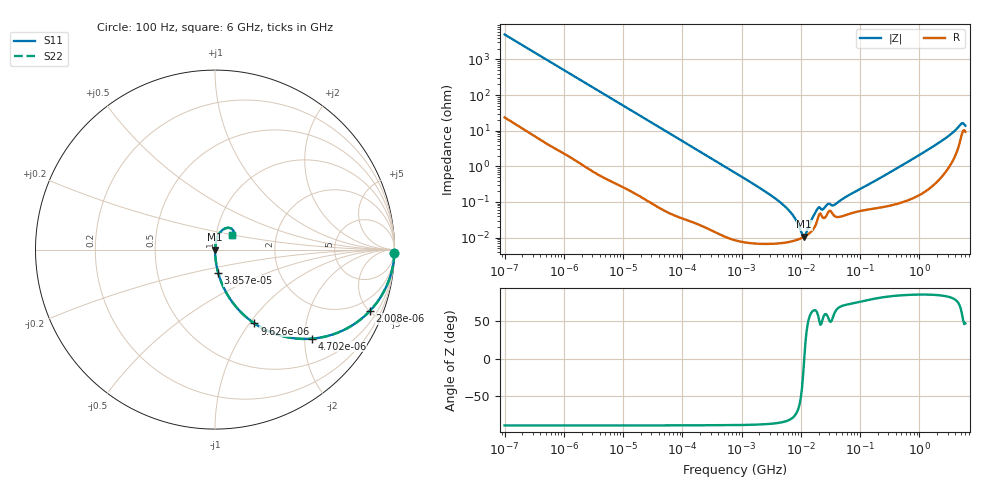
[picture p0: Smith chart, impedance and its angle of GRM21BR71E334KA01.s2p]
!Murata Part Number: GRM21BR71E334KA01
!These Parameters are Measured in Series Mode Connection
!Data Generated on Mar 30, 2021
!  o--ll--o
!Port1  Port2
!  o------o
!Operation Temp=25[degC], DC Bias Voltage=0[V]
!Freq. Start=100[Hz] Stop=6[GHz] 401[Steps]
# Hz S RI R 50
!Freq.(Hz) S11(Real) S11(Imag) S21(Real) S21(Imag) S12(Real) S12(Imag) S22(Real) S22(Imag)
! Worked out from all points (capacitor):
!   401 points, 100 Hz to 6 GHz, reference 50 ohm
!   read as one part in series: C = 316 nF near 109 Hz
!   lowest |Z| = 10.5 mohm at 11.37 MHz (marker M1)
!   series resonance near 11.43 MHz, so ESL is about 610 pH
!   S11 on the Smith chart (normalised r, x): 100 Hz: open; 2.008 kHz: 1.02, -5.05; 4.702 kHz: 1.01, -2.16; 9.626 kHz: 1.01, -1.06; 38.57 kHz: 1.00, -0.27; 6 GHz: 1.19, +0.20
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100  0.9995 -0.0199  0.000489 0.0199  0.000489 0.0199  0.9995 -0.0199
548  0.9879 -0.1072  0.0121 0.1072  0.0121 0.1072  0.9879 -0.1072
2008  0.8632 -0.3414  0.1368 0.3414  0.1368 0.3414  0.8632 -0.3414
4702  0.5383 -0.4963  0.4617 0.4963  0.4617 0.4963  0.5383 -0.4963
9626  0.2197 -0.4115  0.7803 0.4115  0.7803 0.4115  0.2197 -0.4115
17227  0.0818 -0.2714  0.9182 0.2714  0.9182 0.2714  0.0818 -0.2714
38569  0.018 -0.1301  0.982 0.1301  0.982 0.1301  0.018 -0.1301
40335  0.0165 -0.1246  0.9835 0.1246  0.9835 0.1246  0.0165 -0.1246
774597  0.000128 -0.00665  0.9999 0.00665  0.9999 0.00665  0.000128 -0.00665
5079039  7.16e-05 -0.000821  0.9999 0.000821  0.9999 0.000821  7.16e-05 -0.000821
7599586  8.1e-05 -0.000384  0.9999 0.000384  0.9999 0.000384  8.1e-05 -0.000384
1.039699e7  9.77e-05 -8.81e-05  0.9999 8.81e-05  0.9999 8.81e-05  9.77e-05 -8.81e-05
1.137099e7  0.000105 -5.1e-06  0.9999 5.1e-06  0.9999 5.1e-06  0.000105 -5.1e-06
1.243624e7  0.000115 7.93e-05  0.9999 -7.93e-05  0.9999 -7.93e-05  0.000115 7.93e-05
1.555665e7  0.000157 0.000307  0.9998 -0.000307  0.9998 -0.000307  0.000157 0.000307
1.946e7  0.000351 0.000571  0.9996 -0.000571  0.9996 -0.000571  0.000351 0.000571
2.911731e7  0.00052 0.000725  0.9995 -0.000725  0.9995 -0.000725  0.00052 0.000725
3.80911e7  0.000392 0.000762  0.9996 -0.000762  0.9996 -0.000762  0.000392 0.000762
3.124326e8  0.000823 0.00658  0.9992 -0.00658  0.9992 -0.00658  0.000823 0.00658
2.142435e9  0.00619 0.0453  0.9938 -0.0453  0.9938 -0.0453  0.00619 0.0453
5.016141e9  0.0731 0.1219  0.9269 -0.1219  0.9269 -0.1219  0.0731 0.1219
6e9  0.0934 0.0834  0.9066 -0.0834  0.9066 -0.0834  0.0934 0.0834
